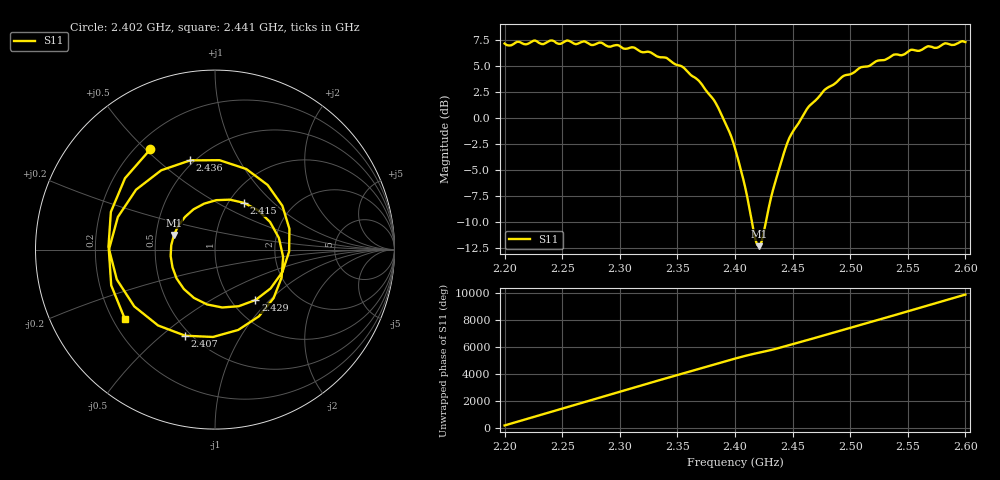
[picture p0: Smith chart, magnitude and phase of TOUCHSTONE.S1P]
!Agilent Technologies,E5071C,MY46104870,A.11.22
!Date: Sun Jan 01 02:18:04 2017
!Data & Calibration Information:
!Freq	S11:SOLT2(ON)
!PortZ  Port1:50+j0
!Above PortZ is port z conversion or system Z0 setting when saving the data.
!When reading, reference impedance value at option line is always used.
# Hz S dB R 50
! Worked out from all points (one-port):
!   501 points, 2.2 GHz to 2.6 GHz, reference 50 ohm
!   lowest |S11| = -12.3 dB at 2.421 GHz (marker M1), VSWR 1.64, Z = 31 + j5.39 ohm
!   |S11| at or under -10 dB: 2.414761 GHz to 2.426775 GHz (12.01 MHz wide, 0.496 % of centre)
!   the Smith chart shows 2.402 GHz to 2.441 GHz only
!   S11 on the Smith chart (normalised r, x): 2.402 GHz: 0.26, +0.52; 2.407 GHz: 0.47, -0.60; 2.415 GHz: 1.18, +0.68; 2.429 GHz: 1.28, -0.83; 2.436 GHz: 0.48, +0.64; 2.441 GHz: 0.25, -0.32
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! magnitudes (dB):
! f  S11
! 2.2 GHz  7.1
! 2.226 GHz  7.4
! 2.233 GHz  7.1
! 2.25 GHz  7.2
! 2.3 GHz  6.9
! 2.326 GHz  6.3
! 2.35 GHz  5.0
! 2.368 GHz  3.6
! 2.382 GHz  1.7
! 2.394 GHz  -1.2
! 2.4 GHz  -2.9
! 2.402 GHz  -3.5
! 2.407 GHz  -5.9
! 2.415 GHz  -10.3
! 2.418 GHz  -11.9
! 2.421 GHz  -12.3
! 2.424 GHz  -11.4
! 2.429 GHz  -8.9
! 2.436 GHz  -5.7
! 2.441 GHz  -4.0
! 2.446 GHz  -2.4
! 2.45 GHz  -1.3
! 2.463 GHz  1.0
! 2.478 GHz  2.7
! 2.5 GHz  4.2
! 2.523 GHz  5.4
! 2.55 GHz  6.3
! 2.6 GHz  7.3
